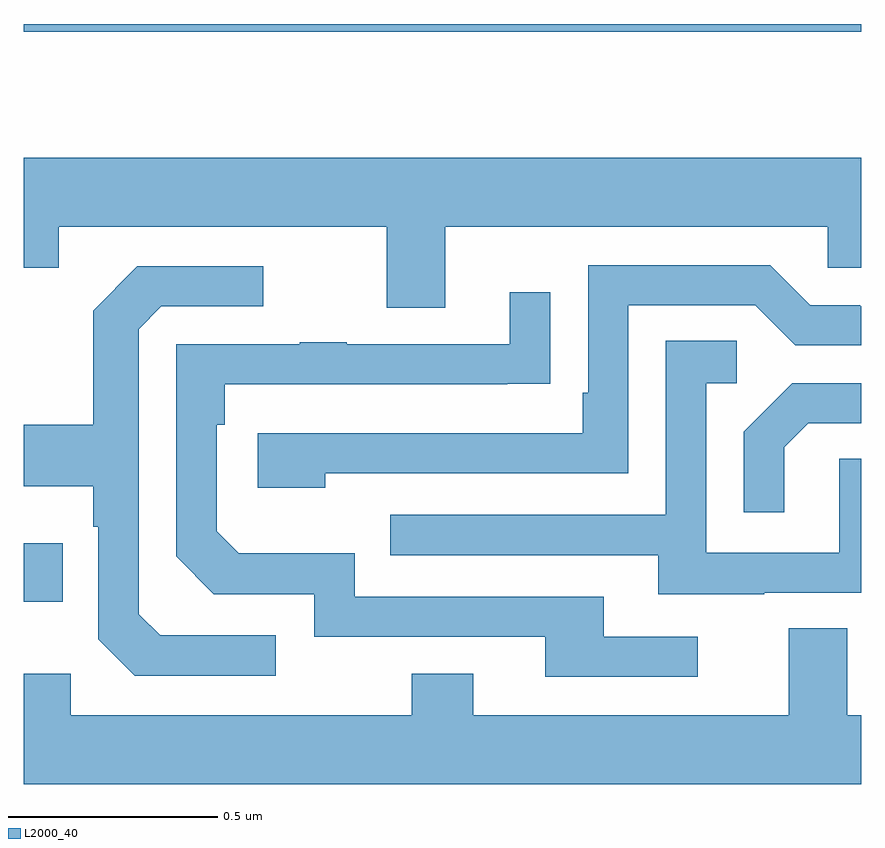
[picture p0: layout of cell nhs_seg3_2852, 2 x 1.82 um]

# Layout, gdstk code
import gdstk
lib = gdstk.Library(unit=1e-6, precision=1e-09)
def R(c, l, rs):  # rectangles x0, y0, x1, y1
    for r in rs: c.add(gdstk.rectangle(r[:2], r[2:], *l))
def P(c, l, *ps):  # polygons
    for p in ps: c.add(gdstk.Polygon(p, *l))
L2000_40 = (2000, 40)

nhs_seg3_2852 = lib.new_cell('nhs_seg3_2852')
R(nhs_seg3_2852, L2000_40, [(146,700.019,146.093,700.159), (146,701.382,148,701.4)])
P(nhs_seg3_2852, L2000_40, [(147.007,700.916),(147.921,700.916),(147.921,700.818),(148,700.818),(148,701.08),(146,701.08),(146,700.817),(146.083,700.817),(146.083,700.916),(146.867,700.916),(146.867,700.722),(147.007,700.722)],
  [(146.72,700.326),(147.444,700.326),(147.444,700.728),(147.747,700.728),(147.843,700.632),(148,700.632),(148,700.725),(147.998,700.725),(147.998,700.728),(147.879,700.728),(147.783,700.824),(147.348,700.824),(147.348,700.519),(147.335,700.519),(147.335,700.422),(146.559,700.422),(146.559,700.292),(146.72,700.292)],
  [(146.602,699.939),(146.325,699.939),(146.274,699.99),(146.274,700.671),(146.328,700.725),(146.572,700.725),(146.572,700.821),(146.271,700.821),(146.166,700.715),(146.166,700.443),(146,700.443),(146,700.295),(146.166,700.295),(146.166,700.199),(146.178,700.199),(146.178,699.93),(146.265,699.843),(146.602,699.843)],
  [(147.61,699.936),(147.385,699.936),(147.385,700.032),(146.79,700.032),(146.79,700.135),(146.513,700.135),(146.46,700.188),(146.46,700.442),(146.48,700.442),(146.48,700.539),(147.155,700.539),(147.155,700.54),(147.257,700.54),(147.257,700.759),(147.161,700.759),(147.161,700.635),(146.771,700.635),(146.771,700.64),(146.659,700.64),(146.659,700.635),(146.364,700.635),(146.364,700.128),(146.454,700.038),(146.694,700.038),(146.694,699.936),(147.245,699.936),(147.245,699.84),(147.61,699.84)],
  [(147.769,700.041),(148,700.041),(148,700.361),(147.948,700.361),(147.948,700.137),(147.63,700.137),(147.63,700.542),(147.703,700.542),(147.703,700.643),(147.534,700.643),(147.534,700.227),(146.875,700.227),(146.875,700.131),(147.515,700.131),(147.515,700.037),(147.769,700.037)],
  [(147.817,700.389),(147.874,700.446),(148,700.446),(148,700.542),(147.836,700.542),(147.72,700.426),(147.72,700.233),(147.817,700.233)],
  [(148,699.748),(147.967,699.748),(147.967,699.956),(147.827,699.956),(147.827,699.748),(147.073,699.748),(147.073,699.847),(146.926,699.847),(146.926,699.748),(146.112,699.748),(146.112,699.847),(146,699.847),(146,699.584),(148,699.584)])

lib.write_gds('nhs_seg3_2852.gds')
